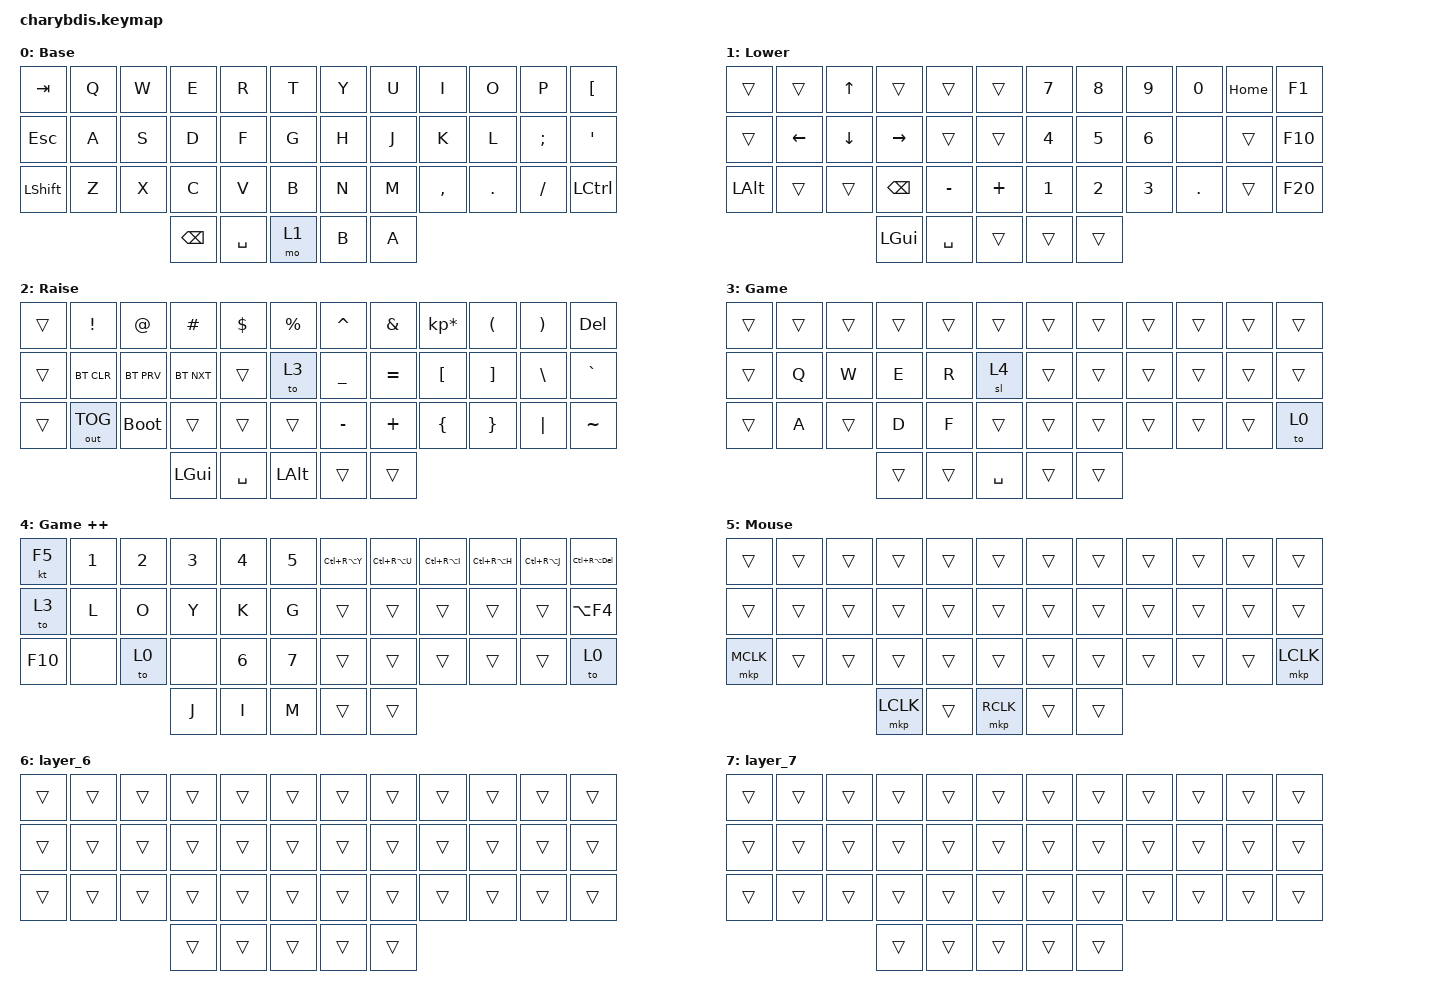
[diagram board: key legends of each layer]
#include <dt-bindings/zmk/mouse.h>
#include <behaviors/mouse_keys.dtsi>
#include <behaviors.dtsi>
#include <dt-bindings/zmk/bt.h>
#include <dt-bindings/zmk/keys.h>
#include <dt-bindings/zmk/keys.h>
#include <dt-bindings/zmk/outputs.h>
#include <dt-bindings/zmk/pointing.h>

&lt {
    tapping-term-ms = <240>;
    flavor = "balanced";
    quick-tap-ms = <150>;
};

/ {
    keymap {
        compatible = "zmk,keymap";

        Base {
            label = "Base";
            bindings = <
&kp TAB    &kp Q  &kp W  &kp E          &kp R      &kp T    &kp Y  &kp U  &kp I      &kp O    &kp P     &kp LEFT_BRACKET
&kp ESC    &kp A  &kp S  &kp D          &kp F      &kp G    &kp H  &kp J  &kp K      &kp L    &kp SEMI  &kp APOS
&kp LSHFT  &kp Z  &kp X  &kp C          &kp V      &kp B    &kp N  &kp M  &kp COMMA  &kp DOT  &kp FSLH  &kp LEFT_CONTROL
                         &kp BACKSPACE  &kp SPACE  &mo 1    &kp B  &kp A
            >;
        };

        Lower {
            label = "Lower";
            bindings = <
&trans        &trans    &kp UP    &trans         &trans     &trans      &kp N7  &kp N8  &kp N9  &kp N0   &kp HOME  &kp F1
&trans        &kp LEFT  &kp DOWN  &kp RIGHT      &trans     &trans      &kp N4  &kp N5  &kp N6  &none    &trans    &kp F10
&kp LEFT_ALT  &trans    &trans    &kp BACKSPACE  &kp MINUS  &kp PLUS    &kp N1  &kp N2  &kp N3  &kp DOT  &trans    &kp F20
                                  &kp LGUI       &kp SPACE  &trans      &trans   &trans
            >;
        };

        Raise {
            label = "Raise";
            bindings = <
&trans  &kp EXCL      &kp AT       &kp HASH    &kp DLLR   &kp PRCNT       &kp CARET  &kp AMPS   &kp KP_MULTIPLY  &kp LPAR  &kp RPAR  &kp DEL
&trans  &bt BT_CLR    &bt BT_PRV   &bt BT_NXT  &trans     &to 3           &kp UNDER  &kp EQUAL  &kp LBKT         &kp RBKT  &kp BSLH  &kp GRAVE
&trans  &out OUT_TOG  &bootloader  &trans      &trans     &trans          &kp MINUS  &kp PLUS   &kp LBRC         &kp RBRC  &kp PIPE  &kp TILDE
                                   &kp LGUI    &kp SPACE  &kp LEFT_ALT    &trans     &trans
            >;
        };

        Game {
            label = "Game";
            bindings = <
&trans  &trans  &trans  &trans  &trans  &trans       &trans  &trans  &trans  &trans  &trans  &trans
&trans  &kp Q   &kp W   &kp E   &kp R   &sl 4        &trans  &trans  &trans  &trans  &trans  &trans
&trans  &kp A   &trans  &kp D   &kp F   &trans       &trans  &trans  &trans  &trans  &trans  &to 0
                        &trans  &trans  &kp SPACE    &trans  &trans
            >;
        };

        Game_++ {
            label = "Game ++";
            bindings = <
&kt F5   &kp NUMBER_1  &kp NUMBER_2  &kp NUMBER_3  &kp NUMBER_4  &kp NUMBER_5    &kp LC(RA(Y))  &kp LC(RA(U))  &kp LC(RA(I))  &kp LC(RA(H))  &kp LC(RA(J))  &kp LC(RA(DEL))
&to 3    &kp L         &kp O         &kp Y         &kp K         &kp G           &trans         &trans         &trans         &trans         &trans         &kp LA(F4)
&kp F10  &none         &to 0         &none         &kp NUMBER_6  &kp NUMBER_7    &trans         &trans         &trans         &trans         &trans         &to 0
                                     &kp J         &kp I         &kp M           &trans         &trans
            >;
        };

        Mouse {
            bindings = <
&trans     &trans  &trans  &trans     &trans  &trans       &trans  &trans  &trans  &trans  &trans  &trans
&trans     &trans  &trans  &trans     &trans  &trans       &trans  &trans  &trans  &trans  &trans  &trans
&mkp MCLK  &trans  &trans  &trans     &trans  &trans       &trans  &trans  &trans  &trans  &trans  &mkp LCLK
                           &mkp LCLK  &trans  &mkp RCLK    &trans  &trans
            >;
        };

        layer_6 {
            bindings = <
&trans  &trans  &trans  &trans  &trans  &trans    &trans  &trans  &trans  &trans  &trans  &trans
&trans  &trans  &trans  &trans  &trans  &trans    &trans  &trans  &trans  &trans  &trans  &trans
&trans  &trans  &trans  &trans  &trans  &trans    &trans  &trans  &trans  &trans  &trans  &trans
                        &trans  &trans  &trans    &trans  &trans
            >;
        };

        layer_7 {
            bindings = <
&trans  &trans  &trans  &trans  &trans  &trans    &trans  &trans  &trans  &trans  &trans  &trans
&trans  &trans  &trans  &trans  &trans  &trans    &trans  &trans  &trans  &trans  &trans  &trans
&trans  &trans  &trans  &trans  &trans  &trans    &trans  &trans  &trans  &trans  &trans  &trans
                        &trans  &trans  &trans    &trans  &trans
            >;
        };
    };
};
